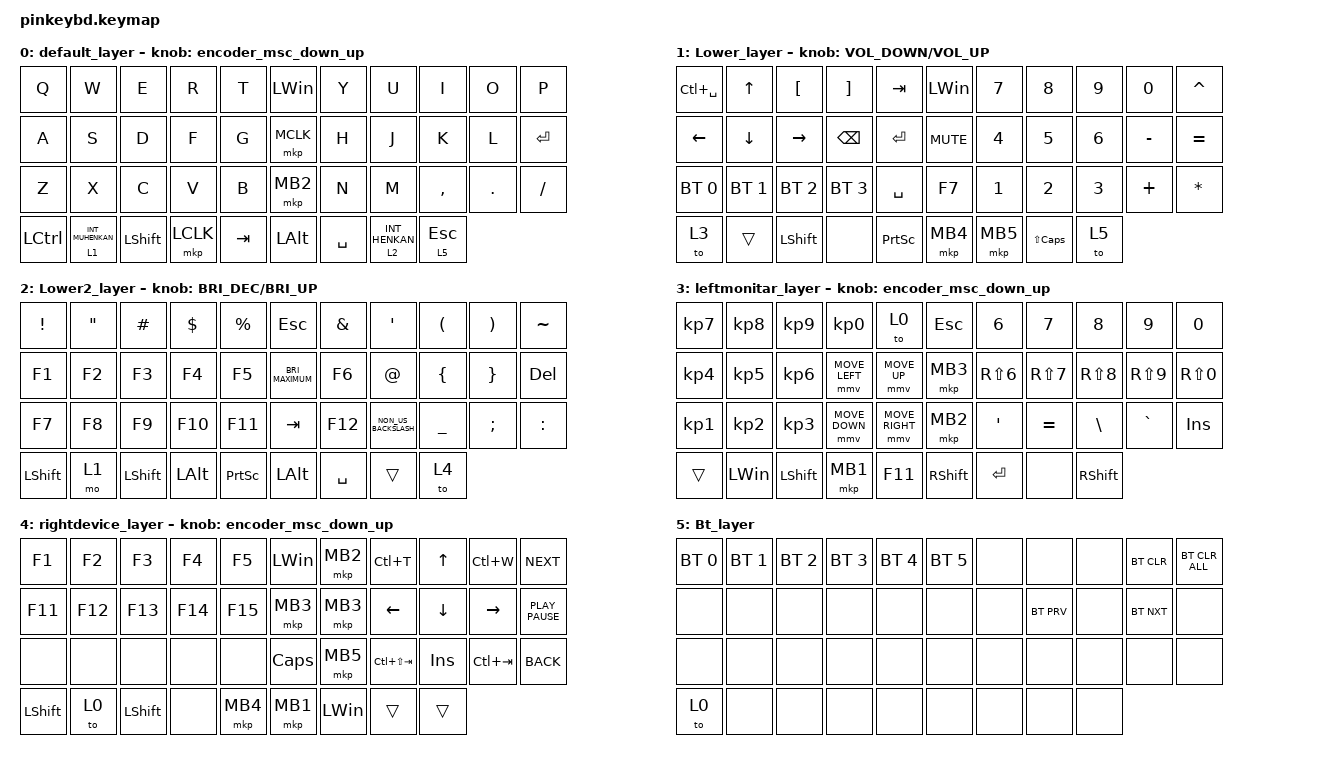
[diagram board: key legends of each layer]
#include <behaviors.dtsi>
#include <dt-bindings/zmk/bt.h>
#include <dt-bindings/zmk/keys.h>
#include <dt-bindings/zmk/pointing.h>

#define ZMK_POINTING_DEFAULT_SCRL_VAL 80

&lt { tapping-term-ms = <140>; };

/ {
    behaviors {
        rot_kp: sensor_rotate_kp {
            compatible = "zmk,behavior-sensor-rotate-var";
            #sensor-binding-cells = <2>;
            bindings = <&kp>, <&kp>;
        };

        encoder_msc_down_up: encoder_msc_down_up {
            compatible = "zmk,behavior-sensor-rotate";
            label = "ENCODER_MSC_DOWN_UP";
            #sensor-binding-cells = <0>;
            bindings = <&msc SCRL_DOWN>, <&msc SCRL_UP>;

            tap-ms = <20>;
        };
    };

    keymap {
        compatible = "zmk,keymap";

        // ---------------------------------------------------------------------------------------------------------------------------------------------------------------------------------------------------------------
        // |        /       |       ,       |       .       |      -        |      ;       |    ESC         |                   |           |       L      |       R       |       D       |       Y       |      P      |
        // |        A       |       O       |       E       |      I        |      U       |    SCROLLLOCK  |                   |           |       G      |       N       |       T       |       S       |      K      |
        // |        X       |       C       |       V       |      W        |      Q       |    TAB         |                   |     F     |       J      |       H       |       M       |       B       |      Z      |
        // |    L_SHIFT     |               |               |   LOWER / Jp  |    Space     |    LEFT_WIN    |                   |  R_SHIFT  |      ENTER   |  LOWER2 / Ja  |               |               |   FUN_L     |
        // ---------------------------------------------------------------------------------------------------------------------------------------------------------------------------------------------------------------

        default_layer {
            bindings = <
&kp Q             &kp W               &kp E           &kp R      &kp T    &kp LEFT_WIN  &kp Y      &kp U             &kp I         &kp O       &kp P
&kp A             &kp S               &kp D           &kp F      &kp G    &mkp MCLK     &kp H      &kp J             &kp K         &kp L       &kp ENTER
&kp Z             &kp X               &kp C           &kp V      &kp B    &mkp MB2      &kp N      &kp M             &kp COMMA     &kp PERIOD  &kp SLASH
&kp LEFT_CONTROL  &lt 1 INT_MUHENKAN  &kp LEFT_SHIFT  &mkp LCLK  &kp TAB  &kp LEFT_ALT  &kp SPACE  &lt 2 INT_HENKAN  &lt 5 ESCAPE
            >;

            sensor-bindings = <&encoder_msc_down_up>;
        };

        // ----------------------------------------------------------------------------------------------------------------------------------------------------------------------------------------------------------------
        // |    /           |       ,       |       END     |     （        |      ”        |    PAUSE_BREAK|                  |            |      （       |       ）     |        ↑      |        [      |      ]      |
        // |    HOME        |       C_SAVE  |       END     |       ）      |       U       |    SCROLLLOCK |                  |            |   Backspace   |       ←      |        ↓      |        →      |     DEL     |
        // |    UNDO        |       CUT     |       COPY    |       PASTE   |       Q       |    TAB        |                  |   PSCRN    |    ' / "      |    = / +     |    \ / |      |    ` / ~      |    INS      |
        // |    L_SHIFT     |               |               |       none    |    SPACE      |    LALT       |                  |   RSHIFT   |   ENTER       |       FUN_L  |               |               |    RCTRL    |
        // ----------------------------------------------------------------------------------------------------------------------------------------------------------------------------------------------------------------

        Lower_layer {
            bindings = <
&kp LC(SPACE)  &kp UP_ARROW  &kp LEFT_BRACKET  &kp RIGHT_BRACKET  &kp TAB    &kp LEFT_WIN  &kp N7        &kp N8        &kp N9        &kp N0     &kp CARET
&kp LEFT       &kp DOWN      &kp RIGHT         &kp BACKSPACE      &kp ENTER  &kp K_MUTE    &kp NUMBER_4  &kp N5        &kp NUMBER_6  &kp MINUS  &kp EQUAL
&bt BT_SEL 0   &bt BT_SEL 1  &bt BT_SEL 2      &bt BT_SEL 3       &kp SPACE  &kp F7        &kp NUMBER_1  &kp NUMBER_2  &kp NUMBER_3  &kp PLUS   &kp ASTERISK
&to 3          &trans        &kp LEFT_SHIFT    &none              &kp PSCRN  &mkp MB4      &mkp MB5      &kp LS(CAPS)  &to 5
            >;

            sensor-bindings = <&inc_dec_kp C_VOLUME_DOWN C_VOLUME_UP>;
        };

        // -------------------------------------------------------------------------------------------------------------------------------------------------------------------------------------------------------------
        // |    /           |       ,        |       END     |       {       |       ’      |    ESC        |                  |            |      L      |      R         |    PG_UP      |     {       |      }      |
        // |    HOME        |       C_SAVE   |       END     |       }       |       U      |    LCTRL      |                  |            |  Backspace  |    HOME        |    PG_DN      |    END      |    DEL      |
        // |    UNDO        |       CUT      |       COPY    |       PASTE   |       Q      |    TAB        |                  |      F     |    ' / "    |    = / +       |    \ / |      |    ` / ~    |    INS      |
        // |    L_SHIFT     |                |               |       BT_L    |      SPACE   |    LALT       |                  |   ENTER    |    none     |   R_SHIFT      |               |             |   R_SHIFT   |
        // -------------------------------------------------------------------------------------------------------------------------------------------------------------------------------------------------------------

        Lower2_layer {
            bindings = <
&kp EXCLAMATION  &kp DOUBLE_QUOTES  &kp HASH        &kp DOLLAR  &kp PERCENT  &kp ESC                   &kp AMPERSAND  &kp SQT               &kp LEFT_PARENTHESIS  &kp RIGHT_PARENTHESIS  &kp TILDE
&kp F1           &kp F2             &kp F3          &kp F4      &kp F5       &kp C_BRIGHTNESS_MAXIMUM  &kp F6         &kp AT_SIGN           &kp LEFT_BRACE        &kp RIGHT_BRACE        &kp DEL
&kp F7           &kp F8             &kp F9          &kp F10     &kp F11      &kp TAB                   &kp F12        &kp NON_US_BACKSLASH  &kp UNDERSCORE        &kp SEMICOLON          &kp COLON
&kp LSHIFT       &mo 1              &kp LEFT_SHIFT  &kp LALT    &kp PSCRN    &kp LEFT_ALT              &kp SPACE      &trans                &to 4
            >;

            sensor-bindings = <&inc_dec_kp C_BRI_DEC C_BRI_UP>;
        };

        // --------------------------------------------------------------------------------------------------------------------------------------------------------------------------------------------------------------
        // |        1       |      2        |       3       |       4       |       5       |    ESC        |               |            |      6       |      7        |       8       |       9       |       0       |
        // |        !       |      @        |       #       |       $       |       %       |    none       |               |            |      ^       |      &        |       *       |       (       |       )       | 
        // |        F1      |     F2        |     F3        |       F4      |       F5      |    TAB        |               |     F11    |    ' / "     |    = / +      |    \ / |      |    ` / ~      |       INS     |
        // |    L_SHIFT     |               |               | En / LOWER    |    Space      |    LSIHT      |               |   R_SHIFT  |      ENTER   |     none      |               |               |       R_SHIFT |
        // --------------------------------------------------------------------------------------------------------------------------------------------------------------------------------------------------------------

        leftmonitar_layer {
            bindings = <
&kp KP_NUMBER_7  &kp KP_NUMBER_8  &kp KP_NUMBER_9  &kp KP_N0       &to 0            &kp ESC     &kp N6      &kp N7      &kp N8      &kp N9      &kp N0
&kp KP_NUMBER_4  &kp KP_NUMBER_5  &kp KP_NUMBER_6  &mmv MOVE_LEFT  &mmv MOVE_UP     &mkp MB3    &kp RS(N6)  &kp RS(N7)  &kp RS(N8)  &kp RS(N9)  &kp RS(N0)
&kp KP_NUMBER_1  &kp KP_NUMBER_2  &kp KP_NUMBER_3  &mmv MOVE_DOWN  &mmv MOVE_RIGHT  &mkp MB2    &kp APOS    &kp EQUAL   &kp BSLH    &kp GRAVE   &kp INS
&trans           &kp LEFT_WIN     &kp LEFT_SHIFT   &mkp MB1        &kp F11          &kp RSHIFT  &kp ENTER   &none       &kp RSHIFT
            >;

            sensor-bindings = <&encoder_msc_down_up>;
        };

        // ---------------------------------------------------------------------------------------------------------------------------------------------------------------------------------
        // |     F1      |     F2     |     F3     |     F4     |    F5      |    none    |                |            |    F6      |    F7      |    F8      |    F9       |     F10     |
        // |     F11     |     F12    |     F13    |     F14    |    F15     |    none    |                |   none     |    F16     |    F17     |    F18     |    F19      |     F20     |
        // |     none    |    none    |    none    |    none    |   none     |    none    |                |   none     |    none    |    none    |    none    |    none     |     none    |
        // |     L_SHIFT |    none    |    none    |    none    |   none     |    none    |                |   none     |    none    |    none    |    none    |    none     |     R_SHIFT |
        // ---------------------------------------------------------------------------------------------------------------------------------------------------------------------------------

        rightdevice_layer {
            bindings = <
&kp F1      &kp F2   &kp F3          &kp F4   &kp F5    &kp LEFT_WIN  &mkp MB2      &kp LC(T)        &kp UP_ARROW  &kp LC(W)    &kp K_NEXT
&kp F11     &kp F12  &kp F13         &kp F14  &kp F15   &mkp MB3      &mkp MB3      &kp LEFT         &kp DOWN      &kp RIGHT    &kp K_PLAY_PAUSE
&none       &none    &none           &none    &none     &kp CAPS      &mkp MB5      &kp LC(LS(TAB))  &kp INS       &kp LC(TAB)  &kp K_BACK
&kp LSHIFT  &to 0    &kp LEFT_SHIFT  &none    &mkp MB4  &mkp MB1      &kp LEFT_WIN  &trans           &trans
            >;

            sensor-bindings = <&encoder_msc_down_up>;
        };

        // --------------------------------------------------------------------------------------------------------------------------------------------------------------------------------
        // |    none    |    none    |    none    |    none    |   none     |    none    |                  |            |    none    |    none    |    none    |   none     |    none    |
        // |  BT_SEL 0  |  BT_SEL 1  |  BT_SEL 2  |  BT_SEL 3  |   none     |    none    |                  |            |    none    |    none    |    none    |   BT_CLR   | BT_CLR_ALL |
        // |    none    |    none    |    none    |    none    |   none     |    none    |                  |    none    |    none    |   BT_PRV   |    none    |   BT_NXT   |    none    |
        // |    none    |    none    |    none    |    none    |   none     |    none    |                  |    none    |    none    |    none    |    none    |   none     |    none    |
        // --------------------------------------------------------------------------------------------------------------------------------------------------------------------------------

        Bt_layer {
            bindings = <
&bt BT_SEL 0  &bt BT_SEL 1  &bt BT_SEL 2  &bt BT_SEL 3  &bt BT_SEL 4  &bt BT_SEL 5  &none  &none       &none  &bt BT_CLR  &bt BT_CLR_ALL
&none         &none         &none         &none         &none         &none         &none  &bt BT_PRV  &none  &bt BT_NXT  &none
&none         &none         &none         &none         &none         &none         &none  &none       &none  &none       &none
&to 0         &none         &none         &none         &none         &none         &none  &none       &none
            >;
        };
    };
};
